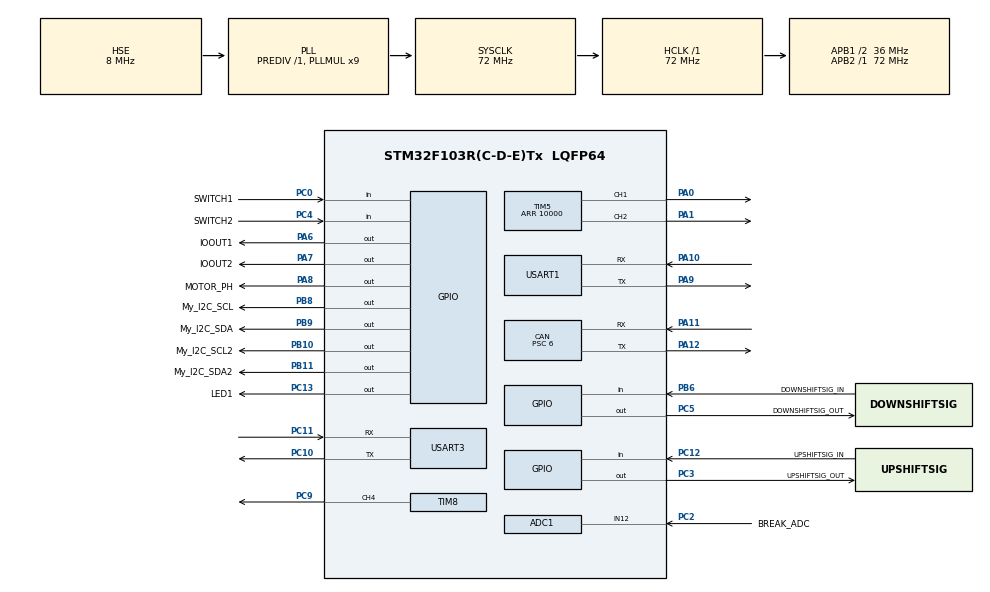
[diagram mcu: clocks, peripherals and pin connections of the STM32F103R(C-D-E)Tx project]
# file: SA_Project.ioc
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ADC1.Channel-0\#ChannelRegularConversion=ADC_CHANNEL_12
ADC1.NbrOfConversionFlag=1
ADC1.Rank-0\#ChannelRegularConversion=1
ADC1.SamplingTime-0\#ChannelRegularConversion=ADC_SAMPLETIME_1CYCLE_5
ADC1.master=1
CAN.ABOM=ENABLE
CAN.AWUM=ENABLE
CAN.BS1=CAN_BS1_4TQ
CAN.CalculateBaudRate=999999
CAN.CalculateTimeBit=1000
CAN.CalculateTimeQuantum=166.66666666666669
CAN.Mode=CAN_MODE_NORMAL
CAN.Prescaler=6
CAN.SJW=CAN_SJW_1TQ
Dma.Request0=USART3_TX
Dma.USART3_TX.0.Direction=DMA_MEMORY_TO_PERIPH
Dma.USART3_TX.0.Instance=DMA1_Channel2
Dma.USART3_TX.0.MemDataAlignment=DMA_MDATAALIGN_BYTE
Dma.USART3_TX.0.MemInc=DMA_MINC_ENABLE
Dma.USART3_TX.0.Mode=DMA_NORMAL
Dma.USART3_TX.0.PeriphDataAlignment=DMA_PDATAALIGN_BYTE
Dma.USART3_TX.0.PeriphInc=DMA_PINC_DISABLE
Dma.USART3_TX.0.Priority=DMA_PRIORITY_LOW
Mcu.Family=STM32F1
Mcu.Name=STM32F103R(C-D-E)Tx
Mcu.Package=LQFP64
NVIC.DMA1_Channel2_IRQn=true\:0\:0\:false\:false\:true\:false\:true\:true
NVIC.PriorityGroup=NVIC_PRIORITYGROUP_4
NVIC.TIM2_IRQn=true\:0\:0\:false\:false\:true\:true\:true\:true
NVIC.USB_LP_CAN1_RX0_IRQn=true\:0\:0\:false\:false\:true\:true\:true\:true
PA0-WKUP.Signal=S_TIM5_CH1
PA1.Signal=S_TIM5_CH2
PA10.Mode=Asynchronous
PA10.Signal=USART1_RX
PA11.Mode=CAN_Activate
PA11.Signal=CAN_RX
PA12.Mode=CAN_Activate
PA12.Signal=CAN_TX
PA13.Mode=Serial_Wire
PA13.Signal=SYS_JTMS-SWDIO
PA14.Mode=Serial_Wire
PA14.Signal=SYS_JTCK-SWCLK
PA6.GPIO_Label=IOOUT1
PA6.GPIO_PuPd=GPIO_PULLDOWN
PA6.Signal=GPIO_Output
PA7.GPIO_Label=IOOUT2
PA7.Signal=GPIO_Output
PA8.GPIO_Label=MOTOR_PH
PA8.Signal=GPIO_Output
PA9.Mode=Asynchronous
PA9.Signal=USART1_TX
PB10.GPIO_Label=My_I2C_SCL2
PB10.PinState=GPIO_PIN_SET
PB10.Signal=GPIO_Output
PB11.GPIO_Label=My_I2C_SDA2
PB11.PinState=GPIO_PIN_SET
PB11.Signal=GPIO_Output
PB6.GPIO_Label=DOWNSHIFTSIG_IN
PB6.Signal=GPIO_Input
PB8.GPIO_Label=My_I2C_SCL
PB8.PinState=GPIO_PIN_SET
PB8.Signal=GPIO_Output
PB9.GPIO_Label=My_I2C_SDA
PB9.PinState=GPIO_PIN_SET
PB9.Signal=GPIO_Output
PC0.GPIO_Label=SWITCH1
PC0.Signal=GPIO_Input
PC10.Mode=Asynchronous
PC10.Signal=USART3_TX
PC11.Mode=Asynchronous
PC11.Signal=USART3_RX
PC12.GPIO_Label=UPSHIFTSIG_IN
PC12.Signal=GPIO_Input
PC13-TAMPER-RTC.GPIO_Label=LED1
PC13-TAMPER-RTC.Signal=GPIO_Output
PC14-OSC32_IN.Mode=LSE-External-Oscillator
PC14-OSC32_IN.Signal=RCC_OSC32_IN
PC15-OSC32_OUT.Mode=LSE-External-Oscillator
PC15-OSC32_OUT.Signal=RCC_OSC32_OUT
PC2.GPIO_Label=BREAK_ADC
PC2.Signal=ADCx_IN12
PC3.GPIO_Label=UPSHIFTSIG_OUT
PC3.Signal=GPIO_Output
PC4.GPIO_Label=SWITCH2
PC4.Signal=GPIO_Input
PC5.GPIO_Label=DOWNSHIFTSIG_OUT
PC5.Signal=GPIO_Output
PC9.Signal=S_TIM8_CH4
PD0-OSC_IN.Mode=HSE-External-Oscillator
PD0-OSC_IN.Signal=RCC_OSC_IN
PD1-OSC_OUT.Mode=HSE-External-Oscillator
PD1-OSC_OUT.Signal=RCC_OSC_OUT
ProjectManager.HeapSize=0x200
ProjectManager.StackSize=0x400
ProjectManager.TargetToolchain=MDK-ARM V5.32
RCC.ADCPresc=RCC_ADCPCLK2_DIV6
RCC.AHBFreq_Value=72000000
RCC.APB1CLKDivider=RCC_HCLK_DIV2
RCC.APB1Freq_Value=36000000
RCC.APB1TimFreq_Value=72000000
RCC.APB2Freq_Value=72000000
RCC.APB2TimFreq_Value=72000000
RCC.HCLKFreq_Value=72000000
RCC.PLLMUL=RCC_PLL_MUL9
RCC.PLLSourceVirtual=RCC_PLLSOURCE_HSE
RCC.SYSCLKFreq_VALUE=72000000
RCC.SYSCLKSource=RCC_SYSCLKSOURCE_PLLCLK
RCC.USBFreq_Value=72000000
SH.ADCx_IN12.0=ADC1_IN12,IN12
SH.S_TIM5_CH1.0=TIM5_CH1,PWM Generation1 CH1
SH.S_TIM5_CH2.0=TIM5_CH2,PWM Generation2 CH2
SH.S_TIM8_CH4.0=TIM8_CH4,PWM Generation4 CH4
TIM2.AutoReloadPreload=TIM_AUTORELOAD_PRELOAD_ENABLE
TIM2.Period=50-1
TIM2.Prescaler=7200-1
TIM5.Channel-PWM\ Generation1\ CH1=TIM_CHANNEL_1
TIM5.Channel-PWM\ Generation2\ CH2=TIM_CHANNEL_2
TIM5.Period=10000
TIM8.AutoReloadPreload=TIM_AUTORELOAD_PRELOAD_DISABLE
TIM8.Channel-PWM\ Generation4\ CH4=TIM_CHANNEL_4
TIM8.Period=10000
TIM8.Prescaler=0
TIM8.Pulse-PWM\ Generation4\ CH4=0
USART1.VirtualMode=VM_ASYNC
USART3.VirtualMode=VM_ASYNC
VP_TIM2_VS_ClockSourceINT.Mode=Internal
board=custom

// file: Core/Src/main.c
/* USER CODE BEGIN Header */
/**
  ******************************************************************************
  * @file           : main.c
  * @brief          : Main program body
  ******************************************************************************
  * @attention
  *
  * Copyright (c) 2024 STMicroelectronics.
  * All rights reserved.
  *
  * This software is licensed under terms that can be found in the LICENSE file
  * in the root directory of this software component.
  * If no LICENSE file comes with this software, it is provided AS-IS.
  *
  ******************************************************************************
  */
/* USER CODE END Header */
#include "main.h"
#include "adc.h"
#include "can.h"
#include "dma.h"
#include "tim.h"
#include "usart.h"
#include "gpio.h"

/* USER CODE BEGIN Includes */

#include "headfile.h"    //头文

/* USER CODE END Includes */

/* USER CODE BEGIN PTD */
//FOCmotor_Typedef FOCM1,FOCM2,FOCM3;
//AnglePD_Typedef PDM1;
/* USER CODE END PTD */

/* USER CODE BEGIN PD */
uint8_t message1[]="****UART commucition using IDLE IT DMA****\n";
uint8_t message2[]="Please enter 8 characters: \n";

/* USER CODE END PD */

void SystemClock_Config(void);

/* USER CODE BEGIN 0 */
//float a;
//float b;
uint16_t a,b,c,d;
float set111,angle=0;
/* USER CODE END 0 */

int main(void)
{

  /* MCU Configuration--------------------------------------------------------*/

  /* Reset of all peripherals, Initializes the Flash interface and the Systick. */
  HAL_Init();

  /* Configure the system clock */
  SystemClock_Config();

  /* USER CODE BEGIN SysInit */
//  AnglePD_Init(&PDM1);
  /* USER CODE END SysInit */

  /* Initialize all configured peripherals */
  MX_GPIO_Init();
  MX_DMA_Init();
  MX_USART1_UART_Init();
  MX_TIM8_Init();
  MX_TIM2_Init();
  MX_CAN_Init();
  MX_ADC1_Init();
  MX_USART3_UART_Init();
  MX_TIM5_Init();
  /* USER CODE BEGIN 2 */

//    HAL_TIM_PWM_Start(&htim8, TIM_CHANNEL_4);
    Init_Cyber(&Cyber, 0x04);
//    Start_Cyber(&Cyber);
      Stop_Cyber(&Cyber, 1);
      Set_Cyber_Mode(&Cyber,Motion_mode);
      Cyber_ControlMode(&Cyber,4,3,0,0.3,0.1);
      Start_Cyber(&Cyber);

//    Init_Cyber(&Cyber, 4);
//    Set_Cyber_limitSp(&Cyber, 3);
//    Set_Cyber_limitTor(&Cyber, 3);
//    Set_Cyber_Mode(&Cyber,0);
//    HAL_TIM_Base_Start_IT(&htim2);//定时器5ms中断开启
  /* USER CODE END 2 */

  /* Infinite loop */
  /* USER CODE BEGIN WHILE */
  while (1)
  {
        Cyber_ControlMode(&Cyber,4,3,angle,0.3,0.1);

//        Read_Cyber_Parameter(&Cyber,0X3004);
//    Cyber_ControlMode(&Cyber,3,3,1,0.1,0.1);
//      Cyber_ControlMode(&Cyber,3,1,0,0.2,0.06);
//      Start_Cyber(&Cyber);
//      HAL_Delay(3000);
//      CANtest(&Cyber);
//      Stop_Cyber(&Cyber, 1);
//      Cyber_ControlMode(&Cyber,3,1,100,0.2,0.06);
//      Start_Cyber(&Cyber);
//      HAL_Delay(3000);
//      CANtest(&Cyber);
//      Stop_Cyber(&Cyber, 1);
//      Cyber_ControlMode(&Cyber,3,1,200,0.2,0.06);
//      Start_Cyber(&Cyber);
//      HAL_Delay(3000);
//      CANtest(&Cyber);
//      Stop_Cyber(&Cyber, 1);
//      Cyber_ControlMode(&Cyber,3,1,300,0.2,0.06);
//      Start_Cyber(&Cyber);
//      HAL_Delay(3000);
//      CANtest(&Cyber);
//      Stop_Cyber(&Cyber, 1);
//      CANtest(&Cyber);
//      __HAL_TIM_SET_COMPARE(&htim8, TIM_CHANNEL_4, 1000); //设置CH4->PWM脉冲宽度

      a=get_key_num();
      if (a==1) {Stop_Cyber(&Cyber, 1);}
      if (a==2) {Start_Cyber(&Cyber);}
      if (a==3) {angle+=1;}
      if (a==4) {angle-=1;}

//      if (a==1) {HAL_GPIO_WritePin(MOTOR_PH_GPIO_Port, MOTOR_PH_Pin, GPIO_PIN_SET);}
//      else {HAL_GPIO_WritePin(MOTOR_PH_GPIO_Port, MOTOR_PH_Pin, GPIO_PIN_RESET);}
//
//      if (a==2) {
//          HAL_GPIO_WritePin(DOWNSHIFTSIG_OUT_GPIO_Port,DOWNSHIFTSIG_OUT_Pin , GPIO_PIN_RESET);
//          HAL_GPIO_WritePin(UPSHIFTSIG_OUT_GPIO_Port,UPSHIFTSIG_OUT_Pin , GPIO_PIN_RESET);}
//      else {
//          HAL_GPIO_WritePin(DOWNSHIFTSIG_OUT_GPIO_Port,DOWNSHIFTSIG_OUT_Pin , GPIO_PIN_SET);
//          HAL_GPIO_WritePin(UPSHIFTSIG_OUT_GPIO_Port,UPSHIFTSIG_OUT_Pin , GPIO_PIN_SET);
//            }

//      if (a==3) {
//          HAL_GPIO_WritePin(IOOUT1_GPIO_Port,IOOUT1_Pin, GPIO_PIN_RESET);
//          HAL_GPIO_WritePin(IOOUT2_GPIO_Port,IOOUT2_Pin , GPIO_PIN_RESET);}
//      else {
//          HAL_GPIO_WritePin(IOOUT1_GPIO_Port,IOOUT1_Pin , GPIO_PIN_SET);
//          HAL_GPIO_WritePin(IOOUT2_GPIO_Port,IOOUT2_Pin , GPIO_PIN_SET);
//            }
    HAL_GPIO_WritePin((GPIO_TypeDef *)LED1_GPIO_Port, (uint16_t)LED1_Pin, (GPIO_PinState)1);

//      //      HAL_GPIO_WritePin((GPIO_TypeDef *)LED1_GPIO_Port, (uint16_t)LED1_Pin, (GPIO_PinState)1);
    printf("samples: %f \n",angle);

//      Cyber_ControlMode(&Cyber,3,3,1,0.2,0.1);
//      HAL_Delay(500);
//      Cyber_ControlMode(&Cyber,3,3,3,0.2,0.1);
//      HAL_Delay(500);
//      Cyber_ControlMode(&Cyber,3,3,5,0.2,0.1);
//      HAL_Delay(500);
//      Cyber_ControlMode(&Cyber,3,3,2,0.2,0.1);
//      HAL_Delay(500);
//      Cyber_ControlMode(&Cyber,3,3,0,0.2,0.1);
//    Start_Cyber(&Cyber);
    /* USER CODE END WHILE */

  }
}

void SystemClock_Config(void)
{
  RCC_OscInitTypeDef RCC_OscInitStruct = {0};
  RCC_ClkInitTypeDef RCC_ClkInitStruct = {0};
  RCC_PeriphCLKInitTypeDef PeriphClkInit = {0};

  /** Initializes the RCC Oscillators according to the specified parameters
  * in the RCC_OscInitTypeDef structure.
  */
  RCC_OscInitStruct.OscillatorType = RCC_OSCILLATORTYPE_HSE;
  RCC_OscInitStruct.HSEState = RCC_HSE_ON;
  RCC_OscInitStruct.HSEPredivValue = RCC_HSE_PREDIV_DIV1;
  RCC_OscInitStruct.HSIState = RCC_HSI_ON;
  RCC_OscInitStruct.PLL.PLLState = RCC_PLL_ON;
  RCC_OscInitStruct.PLL.PLLSource = RCC_PLLSOURCE_HSE;
  RCC_OscInitStruct.PLL.PLLMUL = RCC_PLL_MUL9;
  if (HAL_RCC_OscConfig(&RCC_OscInitStruct) != HAL_OK)
  {
    Error_Handler();
  }

  /** Initializes the CPU, AHB and APB buses clocks
  */
  RCC_ClkInitStruct.ClockType = RCC_CLOCKTYPE_HCLK|RCC_CLOCKTYPE_SYSCLK
                              |RCC_CLOCKTYPE_PCLK1|RCC_CLOCKTYPE_PCLK2;
  RCC_ClkInitStruct.SYSCLKSource = RCC_SYSCLKSOURCE_PLLCLK;
  RCC_ClkInitStruct.AHBCLKDivider = RCC_SYSCLK_DIV1;
  RCC_ClkInitStruct.APB1CLKDivider = RCC_HCLK_DIV2;
  RCC_ClkInitStruct.APB2CLKDivider = RCC_HCLK_DIV1;

  if (HAL_RCC_ClockConfig(&RCC_ClkInitStruct, FLASH_LATENCY_2) != HAL_OK)
  {
    Error_Handler();
  }
  PeriphClkInit.PeriphClockSelection = RCC_PERIPHCLK_ADC;
  PeriphClkInit.AdcClockSelection = RCC_ADCPCLK2_DIV6;
  if (HAL_RCCEx_PeriphCLKConfig(&PeriphClkInit) != HAL_OK)
  {
    Error_Handler();
  }
}

/* USER CODE BEGIN 4 */
void HAL_TIM_PeriodElapsedCallback(TIM_HandleTypeDef *htim){
    if(htim == &htim2)  //判断中断是否来自于定时器2
   {

   }
}

//单片机测试代码
//    HAL_GPIO_WritePin((GPIO_TypeDef *)LED1_GPIO_Port, (uint16_t)LED1_Pin, (GPIO_PinState)0);
//    HAL_Delay(200);
//    HAL_GPIO_WritePin((GPIO_TypeDef *)LED1_GPIO_Port, (uint16_t)LED1_Pin, (GPIO_PinState)1);
//    HAL_Delay(200);
//    printf("samples: %d \n",a );
//    a++;

/* USER CODE END 4 */

void Error_Handler(void)
{
  __disable_irq();
  while (1)
  {
  }
}
